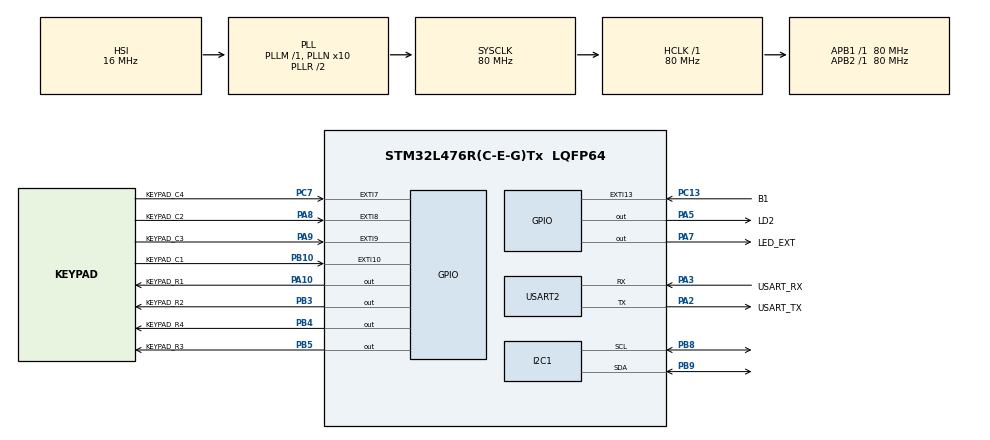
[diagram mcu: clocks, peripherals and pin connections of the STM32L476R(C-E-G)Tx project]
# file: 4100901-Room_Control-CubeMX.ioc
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I2C1.Timing=0x10D19CE4
Mcu.Family=STM32L4
Mcu.Name=STM32L476R(C-E-G)Tx
Mcu.Package=LQFP64
NVIC.EXTI15_10_IRQn=true\:0\:0\:false\:false\:true\:true\:true\:true
NVIC.EXTI9_5_IRQn=true\:0\:0\:false\:false\:true\:true\:true\:true
NVIC.PriorityGroup=NVIC_PRIORITYGROUP_4
NVIC.USART2_IRQn=true\:0\:0\:false\:false\:true\:true\:true\:true
PA10.GPIO_Label=KEYPAD_R1
PA10.Signal=GPIO_Output
PA13\ (JTMS-SWDIO).GPIO_Label=TMS
PA13\ (JTMS-SWDIO).Mode=Serial_Wire
PA13\ (JTMS-SWDIO).Signal=SYS_JTMS-SWDIO
PA14\ (JTCK-SWCLK).GPIO_Label=TCK
PA14\ (JTCK-SWCLK).Mode=Serial_Wire
PA14\ (JTCK-SWCLK).Signal=SYS_JTCK-SWCLK
PA2.GPIO_Label=USART_TX
PA2.GPIO_Mode=GPIO_MODE_AF_PP
PA2.GPIO_PuPd=GPIO_NOPULL
PA2.GPIO_Speed=GPIO_SPEED_FREQ_VERY_HIGH
PA2.Mode=Asynchronous
PA2.Signal=USART2_TX
PA3.GPIO_Label=USART_RX
PA3.GPIO_Mode=GPIO_MODE_AF_PP
PA3.GPIO_PuPd=GPIO_NOPULL
PA3.GPIO_Speed=GPIO_SPEED_FREQ_VERY_HIGH
PA3.Mode=Asynchronous
PA3.Signal=USART2_RX
PA5.GPIO_Label=LD2
PA5.GPIO_ModeDefaultOutputPP=GPIO_MODE_OUTPUT_PP
PA5.GPIO_PuPd=GPIO_NOPULL
PA5.GPIO_Speed=GPIO_SPEED_FREQ_LOW
PA5.Signal=GPIO_Output
PA7.GPIO_Label=LED_EXT
PA7.Signal=GPIO_Output
PA8.GPIO_Label=KEYPAD_C2
PA8.GPIO_PuPd=GPIO_PULLUP
PA8.Signal=GPXTI8
PA9.GPIO_Label=KEYPAD_C3
PA9.GPIO_PuPd=GPIO_PULLUP
PA9.Signal=GPXTI9
PB10.GPIO_Label=KEYPAD_C1
PB10.GPIO_PuPd=GPIO_PULLUP
PB10.Signal=GPXTI10
PB3\ (JTDO-TRACESWO).GPIO_Label=KEYPAD_R2
PB3\ (JTDO-TRACESWO).Signal=GPIO_Output
PB4\ (NJTRST).GPIO_Label=KEYPAD_R4
PB4\ (NJTRST).Signal=GPIO_Output
PB5.GPIO_Label=KEYPAD_R3
PB5.Signal=GPIO_Output
PB8.Mode=I2C
PB8.Signal=I2C1_SCL
PB9.Mode=I2C
PB9.Signal=I2C1_SDA
PC13.GPIO_Label=B1 
PC13.GPIO_ModeDefaultEXTI=GPIO_MODE_IT_FALLING
PC13.GPIO_PuPd=GPIO_NOPULL
PC13.Signal=GPXTI13
PC14-OSC32_IN\ (PC14).Mode=LSE-External-Oscillator
PC14-OSC32_IN\ (PC14).Signal=RCC_OSC32_IN
PC15-OSC32_OUT\ (PC15).Mode=LSE-External-Oscillator
PC15-OSC32_OUT\ (PC15).Signal=RCC_OSC32_OUT
PC7.GPIO_Label=KEYPAD_C4
PC7.GPIO_PuPd=GPIO_PULLUP
PC7.Signal=GPXTI7
PH0-OSC_IN\ (PH0).Signal=RCC_OSC_IN
PH1-OSC_OUT\ (PH1).Signal=RCC_OSC_OUT
ProjectManager.HeapSize=0x200
ProjectManager.StackSize=0x400
ProjectManager.TargetToolchain=CMake
RCC.ADCFreq_Value=64000000
RCC.AHBFreq_Value=80000000
RCC.APB1Freq_Value=80000000
RCC.APB1TimFreq_Value=80000000
RCC.APB2Freq_Value=80000000
RCC.APB2TimFreq_Value=80000000
RCC.CortexFreq_Value=80000000
RCC.HCLKFreq_Value=80000000
RCC.HSE_VALUE=8000000
RCC.HSI_VALUE=16000000
RCC.MSI_VALUE=4000000
RCC.PLLN=10
RCC.PLLSourceVirtual=RCC_PLLSOURCE_HSI
RCC.PREFETCH_ENABLE=1
RCC.SYSCLKFreq_VALUE=80000000
RCC.SYSCLKSource=RCC_SYSCLKSOURCE_PLLCLK
RCC.USBFreq_Value=64000000
RCC.VCOOutputFreq_Value=160000000
USART2.VirtualMode-Asynchronous=VM_ASYNC
board=NUCLEO-L476RG

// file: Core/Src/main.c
/* USER CODE BEGIN Header */
/**
  **************************
  * @file           : main.c
  * @brief          : Main program body
  **************************
  * @attention
  *
  * Copyright (c) 2025 STMicroelectronics.
  * All rights reserved.
  *
  * This software is licensed under terms that can be found in the LICENSE file
  * in the root directory of this software component.
  * If no LICENSE file comes with this software, it is provided AS-IS.
  *
  **************************
  */
/* USER CODE END Header */
#include "main.h"

/* USER CODE BEGIN Includes */

#include "led_driver.h"
#include "ring_buffer.h"
#include "keypad_driver.h"
#include "ssd1306.h"
#include "ssd1306_fonts.h"
#include <stdio.h>
#include <string.h>
/* USER CODE END Includes */

I2C_HandleTypeDef hi2c1;

UART_HandleTypeDef huart2;

/* USER CODE BEGIN PV */
led_handle_t led1 = { .port = GPIOA, .pin = GPIO_PIN_5 }; // LD2 en NUCLEO-L476RG

#define UART2_RX_LEN 16
uint8_t uart2_rx_buffer[UART2_RX_LEN];
ring_buffer_t uart2_rx_rb;
uint8_t uart2_rx_data; // Variable to hold received data

keypad_handle_t keypad = {
    .row_ports = {KEYPAD_R1_GPIO_Port, KEYPAD_R2_GPIO_Port, KEYPAD_R3_GPIO_Port, KEYPAD_R4_GPIO_Port},
    .row_pins  = {KEYPAD_R1_Pin, KEYPAD_R2_Pin, KEYPAD_R3_Pin, KEYPAD_R4_Pin},
    .col_ports = {KEYPAD_C1_GPIO_Port, KEYPAD_C2_GPIO_Port, KEYPAD_C3_GPIO_Port, KEYPAD_C4_GPIO_Port},
    .col_pins  = {KEYPAD_C1_Pin, KEYPAD_C2_Pin, KEYPAD_C3_Pin, KEYPAD_C4_Pin}
};

#define KEYPAD_BUFFER_LEN 16
uint8_t keypad_buffer[KEYPAD_BUFFER_LEN];
ring_buffer_t keypad_rb;

/* --- Access Control Variables --- */
#define ACCESS_CODE_LENGTH 4
const char access_code[ACCESS_CODE_LENGTH + 1] = "123A"; // Example: 1 2 3 A
char entered_code[ACCESS_CODE_LENGTH + 1] = {0};
uint8_t entered_count = 0;
uint8_t access_granted = 0;
uint8_t access_denied = 0;
/* USER CODE END PV */

void SystemClock_Config(void);
static void MX_GPIO_Init(void);
static void MX_USART2_UART_Init(void);
static void MX_I2C1_Init(void);

/* USER CODE BEGIN 0 */
void HAL_UART_RxCpltCallback(UART_HandleTypeDef *huart)
{
    if (huart->Instance == USART2) {
      HAL_UART_Receive_IT(&huart2, &uart2_rx_data, 1);
      ring_buffer_write(&uart2_rx_rb, uart2_rx_data);
    }
}

void HAL_GPIO_EXTI_Callback(uint16_t GPIO_Pin) {
    // Verifica si el pin corresponde a una columna del keypad
    for (int i = 0; i < KEYPAD_COLS; i++) {
        if (GPIO_Pin == keypad.col_pins[i]) {
            char key = keypad_scan(&keypad, GPIO_Pin);
            if (key != '\0') {
                ring_buffer_write(&keypad_rb, (uint8_t)key);
            }
            break; // Sale del for una vez encontrado
        }
    }
}

/* Helper: Blink LED n times */
void blink_led(led_handle_t *led, uint8_t times, uint32_t delay_ms) {
    for (uint8_t i = 0; i < times; i++) {
        led_on(led);
        HAL_Delay(delay_ms);
        led_off(led);
        HAL_Delay(delay_ms);
    }
}
/* USER CODE END 0 */

int main(void)
{

  /* MCU Configuration--------------------------------------------------------*/

  /* Reset of all peripherals, Initializes the Flash interface and the Systick. */
  HAL_Init();

  /* Configure the system clock */
  SystemClock_Config();

  /* Initialize all configured peripherals */
  MX_GPIO_Init();
  MX_USART2_UART_Init();
  MX_I2C1_Init();
  /* USER CODE BEGIN 2 */

  ring_buffer_init(&uart2_rx_rb, uart2_rx_buffer, UART2_RX_LEN);
  HAL_UART_Receive_IT(&huart2, &uart2_rx_data, 1);

  led_init(&led1);
  ring_buffer_init(&keypad_rb, keypad_buffer, KEYPAD_BUFFER_LEN);
  keypad_init(&keypad);

  //SSD1306 initialization and display example
  ssd1306_Init();
  ssd1306_Fill(Black);
  ssd1306_SetCursor(15, 15);
  ssd1306_WriteString("Hello World", Font_7x10, White);
  ssd1306_UpdateScreen();

  printf("Sistema listo. Esperando pulsaciones del teclado...\r\n");
  /* USER CODE END 2 */

  /* Infinite loop */
  /* USER CODE BEGIN WHILE */
  while (1)
  {
    /* --- Access Control Logic --- */
    uint8_t key_from_buffer;
    if (ring_buffer_read(&keypad_rb, &key_from_buffer)) {
        char key = (char)key_from_buffer;
        printf("Tecla presionada: %c\r\n", key);

        // Show key on OLED (mask with '*' if you want)
        ssd1306_SetCursor(10 + entered_count * 15, 50);
        char key_str[2] = {key, 0};
        ssd1306_WriteString(key_str, Font_7x10, White);
        ssd1306_UpdateScreen();

        // Store key
        if (entered_count < ACCESS_CODE_LENGTH) {
            entered_code[entered_count++] = key;
        }

        // If 4 keys entered, check code
        if (entered_count == ACCESS_CODE_LENGTH) {
            entered_code[ACCESS_CODE_LENGTH] = '\0';

            // Show entered code on serial
            printf("Codigo ingresado: %s\r\n", entered_code);

            // Compare
            if (strcmp(entered_code, access_code) == 0) {
                // Access granted
                access_granted = 1;
                access_denied = 0;
                led_on(&led1);

                // OLED feedback
                ssd1306_Fill(Black);
                ssd1306_SetCursor(10, 20);
                ssd1306_WriteString("Autorizado", Font_7x10, White);
                ssd1306_UpdateScreen();

                printf("Autorizado\r\n");
            } else {
                // Access denied
                access_granted = 0;
                access_denied = 1;
                blink_led(&led1, 3, 200);

                // OLED feedback
                ssd1306_Fill(Black);
                ssd1306_SetCursor(10, 20);
                ssd1306_WriteString("Denegado", Font_7x10, White);
                ssd1306_UpdateScreen();

                printf("Denegado\r\n");
            }

            // Wait a moment, then reset for next try
            HAL_Delay(1200);
            led_off(&led1);
            entered_count = 0;
            memset(entered_code, 0, sizeof(entered_code));

            // Clear OLED and prompt again
            ssd1306_Fill(Black);
            ssd1306_SetCursor(10, 10);
            ssd1306_WriteString("Sistema listo", Font_7x10, White);
            ssd1306_SetCursor(10, 30);
            ssd1306_WriteString("Ingrese clave:", Font_7x10, White);
            ssd1306_UpdateScreen();
        }
    }

    // Optional: process UART ring buffer (not required for access control)
    if (ring_buffer_count(&uart2_rx_rb) >= 5) {
        for (int i = 0; i < 5; i++) {
            if (ring_buffer_read(&uart2_rx_rb, &uart2_rx_data)) {
                HAL_UART_Transmit(&huart2, &uart2_rx_data, 1, HAL_MAX_DELAY);
            }
        }
    }

    HAL_Delay(10); // Small delay to avoid busy loop
    /* USER CODE END WHILE */

  }
}

void SystemClock_Config(void)
{
  RCC_OscInitTypeDef RCC_OscInitStruct = {0};
  RCC_ClkInitTypeDef RCC_ClkInitStruct = {0};

  /** Configure the main internal regulator output voltage
  */
  if (HAL_PWREx_ControlVoltageScaling(PWR_REGULATOR_VOLTAGE_SCALE1) != HAL_OK)
  {
    Error_Handler();
  }

  /** Initializes the RCC Oscillators according to the specified parameters
  * in the RCC_OscInitTypeDef structure.
  */
  RCC_OscInitStruct.OscillatorType = RCC_OSCILLATORTYPE_HSI;
  RCC_OscInitStruct.HSIState = RCC_HSI_ON;
  RCC_OscInitStruct.HSICalibrationValue = RCC_HSICALIBRATION_DEFAULT;
  RCC_OscInitStruct.PLL.PLLState = RCC_PLL_ON;
  RCC_OscInitStruct.PLL.PLLSource = RCC_PLLSOURCE_HSI;
  RCC_OscInitStruct.PLL.PLLM = 1;
  RCC_OscInitStruct.PLL.PLLN = 10;
  RCC_OscInitStruct.PLL.PLLP = RCC_PLLP_DIV7;
  RCC_OscInitStruct.PLL.PLLQ = RCC_PLLQ_DIV2;
  RCC_OscInitStruct.PLL.PLLR = RCC_PLLR_DIV2;
  if (HAL_RCC_OscConfig(&RCC_OscInitStruct) != HAL_OK)
  {
    Error_Handler();
  }

  /** Initializes the CPU, AHB and APB buses clocks
  */
  RCC_ClkInitStruct.ClockType = RCC_CLOCKTYPE_HCLK|RCC_CLOCKTYPE_SYSCLK
                              |RCC_CLOCKTYPE_PCLK1|RCC_CLOCKTYPE_PCLK2;
  RCC_ClkInitStruct.SYSCLKSource = RCC_SYSCLKSOURCE_PLLCLK;
  RCC_ClkInitStruct.AHBCLKDivider = RCC_SYSCLK_DIV1;
  RCC_ClkInitStruct.APB1CLKDivider = RCC_HCLK_DIV1;
  RCC_ClkInitStruct.APB2CLKDivider = RCC_HCLK_DIV1;

  if (HAL_RCC_ClockConfig(&RCC_ClkInitStruct, FLASH_LATENCY_4) != HAL_OK)
  {
    Error_Handler();
  }
}

static void MX_I2C1_Init(void)
{

  hi2c1.Instance = I2C1;
  hi2c1.Init.Timing = 0x10D19CE4;
  hi2c1.Init.OwnAddress1 = 0;
  hi2c1.Init.AddressingMode = I2C_ADDRESSINGMODE_7BIT;
  hi2c1.Init.DualAddressMode = I2C_DUALADDRESS_DISABLE;
  hi2c1.Init.OwnAddress2 = 0;
  hi2c1.Init.OwnAddress2Masks = I2C_OA2_NOMASK;
  hi2c1.Init.GeneralCallMode = I2C_GENERALCALL_DISABLE;
  hi2c1.Init.NoStretchMode = I2C_NOSTRETCH_DISABLE;
  if (HAL_I2C_Init(&hi2c1) != HAL_OK)
  {
    Error_Handler();
  }

  /** Configure Analogue filter
  */
  if (HAL_I2CEx_ConfigAnalogFilter(&hi2c1, I2C_ANALOGFILTER_ENABLE) != HAL_OK)
  {
    Error_Handler();
  }

  /** Configure Digital filter
  */
  if (HAL_I2CEx_ConfigDigitalFilter(&hi2c1, 0) != HAL_OK)
  {
    Error_Handler();
  }

}

static void MX_USART2_UART_Init(void)
{

  huart2.Instance = USART2;
  huart2.Init.BaudRate = 115200;
  huart2.Init.WordLength = UART_WORDLENGTH_8B;
  huart2.Init.StopBits = UART_STOPBITS_1;
  huart2.Init.Parity = UART_PARITY_NONE;
  huart2.Init.Mode = UART_MODE_TX_RX;
  huart2.Init.HwFlowCtl = UART_HWCONTROL_NONE;
  huart2.Init.OverSampling = UART_OVERSAMPLING_16;
  huart2.Init.OneBitSampling = UART_ONE_BIT_SAMPLE_DISABLE;
  huart2.AdvancedInit.AdvFeatureInit = UART_ADVFEATURE_NO_INIT;
  if (HAL_UART_Init(&huart2) != HAL_OK)
  {
    Error_Handler();
  }

}

static void MX_GPIO_Init(void)
{
  GPIO_InitTypeDef GPIO_InitStruct = {0};

  /* GPIO Ports Clock Enable */
  __HAL_RCC_GPIOC_CLK_ENABLE();
  __HAL_RCC_GPIOH_CLK_ENABLE();
  __HAL_RCC_GPIOA_CLK_ENABLE();
  __HAL_RCC_GPIOB_CLK_ENABLE();

  /*Configure GPIO pin Output Level */
  HAL_GPIO_WritePin(GPIOA, LD2_Pin|LED_EXT_Pin|KEYPAD_R1_Pin, GPIO_PIN_RESET);

  /*Configure GPIO pin Output Level */
  HAL_GPIO_WritePin(GPIOB, KEYPAD_R2_Pin|KEYPAD_R4_Pin|KEYPAD_R3_Pin, GPIO_PIN_RESET);

  /*Configure GPIO pin : B1_Pin */
  GPIO_InitStruct.Pin = B1_Pin;
  GPIO_InitStruct.Mode = GPIO_MODE_IT_FALLING;
  GPIO_InitStruct.Pull = GPIO_NOPULL;
  HAL_GPIO_Init(B1_GPIO_Port, &GPIO_InitStruct);

  /*Configure GPIO pins : LD2_Pin LED_EXT_Pin KEYPAD_R1_Pin */
  GPIO_InitStruct.Pin = LD2_Pin|LED_EXT_Pin|KEYPAD_R1_Pin;
  GPIO_InitStruct.Mode = GPIO_MODE_OUTPUT_PP;
  GPIO_InitStruct.Pull = GPIO_NOPULL;
  GPIO_InitStruct.Speed = GPIO_SPEED_FREQ_LOW;
  HAL_GPIO_Init(GPIOA, &GPIO_InitStruct);

  /*Configure GPIO pin : KEYPAD_C1_Pin */
  GPIO_InitStruct.Pin = KEYPAD_C1_Pin;
  GPIO_InitStruct.Mode = GPIO_MODE_IT_RISING;
  GPIO_InitStruct.Pull = GPIO_PULLUP;
  HAL_GPIO_Init(KEYPAD_C1_GPIO_Port, &GPIO_InitStruct);

  /*Configure GPIO pin : KEYPAD_C4_Pin */
  GPIO_InitStruct.Pin = KEYPAD_C4_Pin;
  GPIO_InitStruct.Mode = GPIO_MODE_IT_RISING;
  GPIO_InitStruct.Pull = GPIO_PULLUP;
  HAL_GPIO_Init(KEYPAD_C4_GPIO_Port, &GPIO_InitStruct);

  /*Configure GPIO pins : KEYPAD_C2_Pin KEYPAD_C3_Pin */
  GPIO_InitStruct.Pin = KEYPAD_C2_Pin|KEYPAD_C3_Pin;
  GPIO_InitStruct.Mode = GPIO_MODE_IT_RISING;
  GPIO_InitStruct.Pull = GPIO_PULLUP;
  HAL_GPIO_Init(GPIOA, &GPIO_InitStruct);

  /*Configure GPIO pins : KEYPAD_R2_Pin KEYPAD_R4_Pin KEYPAD_R3_Pin */
  GPIO_InitStruct.Pin = KEYPAD_R2_Pin|KEYPAD_R4_Pin|KEYPAD_R3_Pin;
  GPIO_InitStruct.Mode = GPIO_MODE_OUTPUT_PP;
  GPIO_InitStruct.Pull = GPIO_NOPULL;
  GPIO_InitStruct.Speed = GPIO_SPEED_FREQ_LOW;
  HAL_GPIO_Init(GPIOB, &GPIO_InitStruct);

  /* EXTI interrupt init*/
  HAL_NVIC_SetPriority(EXTI9_5_IRQn, 0, 0);
  HAL_NVIC_EnableIRQ(EXTI9_5_IRQn);

  HAL_NVIC_SetPriority(EXTI15_10_IRQn, 0, 0);
  HAL_NVIC_EnableIRQ(EXTI15_10_IRQn);

}

void Error_Handler(void)
{
  __disable_irq();
  while (1)
  {
  }
}
